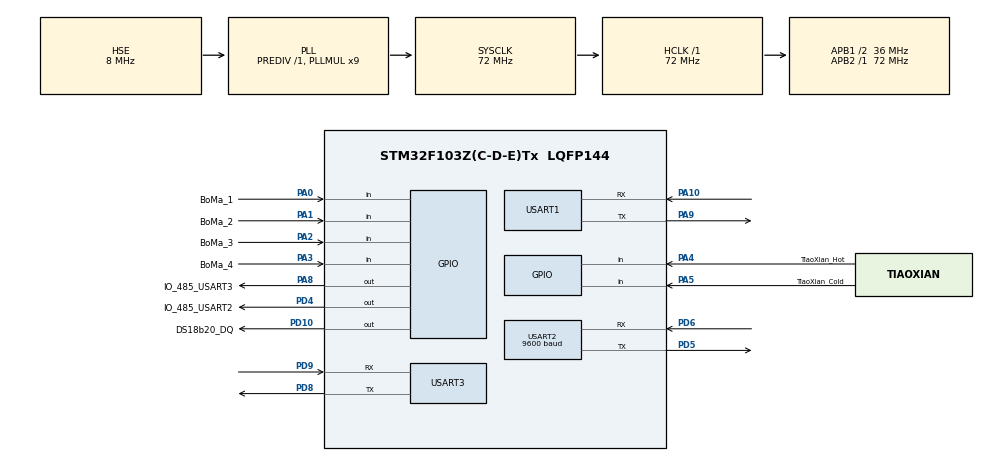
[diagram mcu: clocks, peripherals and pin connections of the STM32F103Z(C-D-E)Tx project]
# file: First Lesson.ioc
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Dma.Request0=USART2_RX
Dma.Request1=USART3_RX
Dma.Request2=USART1_RX
Dma.USART1_RX.2.Direction=DMA_PERIPH_TO_MEMORY
Dma.USART1_RX.2.Instance=DMA1_Channel5
Dma.USART1_RX.2.MemDataAlignment=DMA_MDATAALIGN_BYTE
Dma.USART1_RX.2.MemInc=DMA_MINC_ENABLE
Dma.USART1_RX.2.Mode=DMA_NORMAL
Dma.USART1_RX.2.PeriphDataAlignment=DMA_PDATAALIGN_BYTE
Dma.USART1_RX.2.PeriphInc=DMA_PINC_DISABLE
Dma.USART1_RX.2.Priority=DMA_PRIORITY_LOW
Dma.USART2_RX.0.Direction=DMA_PERIPH_TO_MEMORY
Dma.USART2_RX.0.Instance=DMA1_Channel6
Dma.USART2_RX.0.MemDataAlignment=DMA_MDATAALIGN_BYTE
Dma.USART2_RX.0.MemInc=DMA_MINC_ENABLE
Dma.USART2_RX.0.Mode=DMA_NORMAL
Dma.USART2_RX.0.PeriphDataAlignment=DMA_PDATAALIGN_BYTE
Dma.USART2_RX.0.PeriphInc=DMA_PINC_DISABLE
Dma.USART2_RX.0.Priority=DMA_PRIORITY_LOW
Dma.USART3_RX.1.Direction=DMA_PERIPH_TO_MEMORY
Dma.USART3_RX.1.Instance=DMA1_Channel3
Dma.USART3_RX.1.MemDataAlignment=DMA_MDATAALIGN_BYTE
Dma.USART3_RX.1.MemInc=DMA_MINC_ENABLE
Dma.USART3_RX.1.Mode=DMA_NORMAL
Dma.USART3_RX.1.PeriphDataAlignment=DMA_PDATAALIGN_BYTE
Dma.USART3_RX.1.PeriphInc=DMA_PINC_DISABLE
Dma.USART3_RX.1.Priority=DMA_PRIORITY_LOW
FREERTOS.BinarySemaphores01=bSem_USART1_Serve,Dynamic,NULL;bSem_USART2_Serve,Dynamic,NULL;bSem_USART3_Serve,Dynamic,NULL;bSem_GPRS_DataSend,Dynamic,NULL;bSem_Temp_Control,Dynamic,NULL
FREERTOS.Tasks01=Far_Modify,0,128,Far_ModifyTask,Default,NULL,Dynamic,NULL,NULL;USART1_Serve,3,128,USART1_Serve_Task,Default,NULL,Dynamic,NULL,NULL;USART2_Serve,3,128,USART2_Serve_Task,Default,NULL,Dynamic,NULL,NULL;USART3_Serve,3,128,USART3_Serve_Task,Default,NULL,Dynamic,NULL,NULL;GPRS_DataSend,0,128,GPRS_DataSendTask,Default,NULL,Dynamic,NULL,NULL;Temp_Control,0,128,Temp_ControlTask,Default,NULL,Dynamic,NULL,NULL
FREERTOS.Timers01=Timer_GPRS_DataSend,Timer_GPRS_DataSendCallback,osTimerPeriodic,Default,NULL,Dynamic,NULL;Timer_Temp_Control,Timer_Temp_ControlCallback,osTimerPeriodic,Default,NULL,Dynamic,NULL
FREERTOS.configTIMER_QUEUE_LENGTH=10
FREERTOS.configTOTAL_HEAP_SIZE=20480
FREERTOS.configUSE_TIMERS=1
Mcu.Family=STM32F1
Mcu.Name=STM32F103Z(C-D-E)Tx
Mcu.Package=LQFP144
NVIC.DMA1_Channel3_IRQn=true\:5\:0\:false\:false\:true\:true\:false
NVIC.DMA1_Channel5_IRQn=true\:5\:0\:false\:false\:true\:true\:false
NVIC.DMA1_Channel6_IRQn=true\:5\:0\:false\:false\:true\:true\:false
NVIC.PriorityGroup=NVIC_PRIORITYGROUP_4
NVIC.TIM8_UP_IRQn=true\:0\:0\:false\:false\:true\:false\:false
NVIC.TimeBase=TIM8_UP_IRQn
NVIC.TimeBaseIP=TIM8
NVIC.USART1_IRQn=true\:5\:0\:false\:false\:true\:true\:true
NVIC.USART2_IRQn=true\:5\:0\:false\:false\:true\:true\:true
NVIC.USART3_IRQn=true\:5\:0\:false\:false\:true\:true\:true
OSC_IN.Mode=HSE-External-Oscillator
OSC_IN.Signal=RCC_OSC_IN
OSC_OUT.Mode=HSE-External-Oscillator
OSC_OUT.Signal=RCC_OSC_OUT
PA0-WKUP.GPIO_Label=BoMa_1
PA0-WKUP.GPIO_PuPd=GPIO_PULLUP
PA0-WKUP.Signal=GPIO_Input
PA1.GPIO_Label=BoMa_2
PA1.GPIO_PuPd=GPIO_PULLUP
PA1.Signal=GPIO_Input
PA10.Mode=Asynchronous
PA10.Signal=USART1_RX
PA13.Mode=JTAG_5_pins
PA13.Signal=SYS_JTMS-SWDIO
PA14.Mode=JTAG_5_pins
PA14.Signal=SYS_JTCK-SWCLK
PA15.Mode=JTAG_5_pins
PA15.Signal=SYS_JTDI
PA2.GPIO_Label=BoMa_3
PA2.GPIO_PuPd=GPIO_PULLUP
PA2.Signal=GPIO_Input
PA3.GPIO_Label=BoMa_4
PA3.GPIO_PuPd=GPIO_PULLUP
PA3.Signal=GPIO_Input
PA4.GPIO_Label=TiaoXian_Hot
PA4.GPIO_PuPd=GPIO_PULLUP
PA4.Signal=GPIO_Input
PA5.GPIO_Label=TiaoXian_Cold
PA5.GPIO_PuPd=GPIO_PULLUP
PA5.Signal=GPIO_Input
PA8.GPIO_Label=IO_485_USART3
PA8.GPIO_PuPd=GPIO_PULLUP
PA8.GPIO_Speed=GPIO_SPEED_FREQ_HIGH
PA8.Signal=GPIO_Output
PA9.Mode=Asynchronous
PA9.Signal=USART1_TX
PB3.Mode=JTAG_5_pins
PB3.Signal=SYS_JTDO-TRACESWO
PB4.Mode=JTAG_5_pins
PB4.Signal=SYS_NJTRST
PD10.GPIO_Label=DS18b20_DQ
PD10.GPIO_ModeDefaultOutputPP=GPIO_MODE_OUTPUT_OD
PD10.GPIO_PuPd=GPIO_PULLUP
PD10.GPIO_Speed=GPIO_SPEED_FREQ_HIGH
PD10.PinState=GPIO_PIN_SET
PD10.Signal=GPIO_Output
PD4.GPIO_Label=IO_485_USART2
PD4.GPIO_ModeDefaultOutputPP=GPIO_MODE_OUTPUT_PP
PD4.GPIO_PuPd=GPIO_PULLUP
PD4.GPIO_Speed=GPIO_SPEED_FREQ_HIGH
PD4.PinState=GPIO_PIN_RESET
PD4.Signal=GPIO_Output
PD5.Mode=Asynchronous
PD5.Signal=USART2_TX
PD6.Mode=Asynchronous
PD6.Signal=USART2_RX
PD8.Mode=Asynchronous
PD8.Signal=USART3_TX
PD9.Mode=Asynchronous
PD9.Signal=USART3_RX
ProjectManager.HeapSize=0x200
ProjectManager.StackSize=0x400
ProjectManager.TargetToolchain=MDK-ARM V5
RCC.AHBFreq_Value=72000000
RCC.APB1CLKDivider=RCC_HCLK_DIV2
RCC.APB1Freq_Value=36000000
RCC.APB1TimFreq_Value=72000000
RCC.APB2Freq_Value=72000000
RCC.APB2TimFreq_Value=72000000
RCC.HCLKFreq_Value=72000000
RCC.PLLMUL=RCC_PLL_MUL9
RCC.PLLSourceVirtual=RCC_PLLSOURCE_HSE
RCC.SYSCLKFreq_VALUE=72000000
RCC.SYSCLKSource=RCC_SYSCLKSOURCE_PLLCLK
RCC.USBFreq_Value=72000000
TIM7.AutoReloadPreload=TIM_AUTORELOAD_PRELOAD_ENABLE
TIM7.Period=65535
TIM7.Prescaler=0
USART1.VirtualMode=VM_ASYNC
USART2.BaudRate=9600
USART2.StopBits=STOPBITS_2
USART2.VirtualMode=VM_ASYNC
USART3.VirtualMode=VM_ASYNC
VP_FREERTOS_VS_ENABLE.Mode=Enabled
VP_SYS_VS_tim8.Mode=TIM8
VP_TIM7_VS_ClockSourceINT.Mode=Enable_Timer
board=custom

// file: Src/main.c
/**
  ******************************************************************************
  * @file           : main.c
  * @brief          : Main program body
  ******************************************************************************
  * This notice applies to any and all portions of this file
  * that are not between comment pairs USER CODE BEGIN and
  * USER CODE END. Other portions of this file, whether
  * inserted by the user or by software development tools
  * are owned by their respective copyright owners.
  *
  * Copyright (c) 2018 STMicroelectronics International N.V.
  * All rights reserved.
  *
  * Redistribution and use in source and binary forms, with or without
  * modification, are permitted, provided that the following conditions are met:
  *
  * 1. Redistribution of source code must retain the above copyright notice,
  *    this list of conditions and the following disclaimer.
  * 2. Redistributions in binary form must reproduce the above copyright notice,
  *    this list of conditions and the following disclaimer in the documentation
  *    and/or other materials provided with the distribution.
  * 3. Neither the name of STMicroelectronics nor the names of other
  *    contributors to this software may be used to endorse or promote products
  *    derived from this software without specific written permission.
  * 4. This software, including modifications and/or derivative works of this
  *    software, must execute solely and exclusively on microcontroller or
  *    microprocessor devices manufactured by or for STMicroelectronics.
  * 5. Redistribution and use of this software other than as permitted under
  *    this license is void and will automatically terminate your rights under
  *    this license.
  *
  * THIS SOFTWARE IS PROVIDED BY STMICROELECTRONICS AND CONTRIBUTORS "AS IS"
  * AND ANY EXPRESS, IMPLIED OR STATUTORY WARRANTIES, INCLUDING, BUT NOT
  * LIMITED TO, THE IMPLIED WARRANTIES OF MERCHANTABILITY, FITNESS FOR A
  * PARTICULAR PURPOSE AND NON-INFRINGEMENT OF THIRD PARTY INTELLECTUAL PROPERTY
  * RIGHTS ARE DISCLAIMED TO THE FULLEST EXTENT PERMITTED BY LAW. IN NO EVENT
  * SHALL STMICROELECTRONICS OR CONTRIBUTORS BE LIABLE FOR ANY DIRECT, INDIRECT,
  * INCIDENTAL, SPECIAL, EXEMPLARY, OR CONSEQUENTIAL DAMAGES (INCLUDING, BUT NOT
  * LIMITED TO, PROCUREMENT OF SUBSTITUTE GOODS OR SERVICES; LOSS OF USE, DATA,
  * OR PROFITS; OR BUSINESS INTERRUPTION) HOWEVER CAUSED AND ON ANY THEORY OF
  * LIABILITY, WHETHER IN CONTRACT, STRICT LIABILITY, OR TORT (INCLUDING
  * NEGLIGENCE OR OTHERWISE) ARISING IN ANY WAY OUT OF THE USE OF THIS SOFTWARE,
  * EVEN IF ADVISED OF THE POSSIBILITY OF SUCH DAMAGE.
  *
  ******************************************************************************
  */
#include "main.h"
#include "stm32f1xx_hal.h"
#include "cmsis_os.h"
#include "dma.h"
#include "tim.h"
#include "usart.h"
#include "gpio.h"

/* USER CODE BEGIN Includes */
#include "public.h"
/* USER CODE END Includes */

/* USER CODE BEGIN PV */
/* Private variables ---------------------------------------------------------*/
char a[256]={0};
/* USER CODE END PV */

void SystemClock_Config(void);
void MX_FREERTOS_Init(void);

/* USER CODE BEGIN PFP */
/* Private function prototypes -----------------------------------------------*/

/* USER CODE END PFP */

int main(void)
{

  /* MCU Configuration----------------------------------------------------------*/

  /* Reset of all peripherals, Initializes the Flash interface and the Systick. */
  HAL_Init();

  /* Configure the system clock */
  SystemClock_Config();

  /* Initialize all configured peripherals */
  MX_GPIO_Init();
  MX_DMA_Init();
  MX_USART1_UART_Init();
  MX_USART2_UART_Init();
  MX_USART3_UART_Init();
  MX_TIM7_Init();
  /* USER CODE BEGIN 2 */
  HAL_UART_Receive_DMA(&huart1,UsartType_1.RX_pData, RX_LEN);
	__HAL_UART_ENABLE_IT(&huart1,UART_IT_IDLE);
	  HAL_UART_Receive_DMA(&huart2,UsartType_2.RX_pData, RX_LEN);
	__HAL_UART_ENABLE_IT(&huart2,UART_IT_IDLE);
	  HAL_UART_Receive_DMA(&huart3,UsartType_3.RX_pData, RX_LEN);
	__HAL_UART_ENABLE_IT(&huart3,UART_IT_IDLE);

	vTraceEnable(TRC_INIT);

	Board_Init();		//根据跳线、拨码 进行参数初始化

//TEST
BoardRegister[1] = 3;			//
BoardRegister[2] = 18;		//

	GPRS_Init();

  /* USER CODE END 2 */

  /* Call init function for freertos objects (in freertos.c) */
  MX_FREERTOS_Init();

  /* Start scheduler */
  osKernelStart();

  /* We should never get here as control is now taken by the scheduler */

  /* Infinite loop */
  /* USER CODE BEGIN WHILE */
  while (1)
  {
		;
  /* USER CODE END WHILE */

  }

}

void SystemClock_Config(void)
{

  RCC_OscInitTypeDef RCC_OscInitStruct;
  RCC_ClkInitTypeDef RCC_ClkInitStruct;

    /**Initializes the CPU, AHB and APB busses clocks
    */
  RCC_OscInitStruct.OscillatorType = RCC_OSCILLATORTYPE_HSE;
  RCC_OscInitStruct.HSEState = RCC_HSE_ON;
  RCC_OscInitStruct.HSEPredivValue = RCC_HSE_PREDIV_DIV1;
  RCC_OscInitStruct.HSIState = RCC_HSI_ON;
  RCC_OscInitStruct.PLL.PLLState = RCC_PLL_ON;
  RCC_OscInitStruct.PLL.PLLSource = RCC_PLLSOURCE_HSE;
  RCC_OscInitStruct.PLL.PLLMUL = RCC_PLL_MUL9;
  if (HAL_RCC_OscConfig(&RCC_OscInitStruct) != HAL_OK)
  {
    _Error_Handler(__FILE__, __LINE__);
  }

    /**Initializes the CPU, AHB and APB busses clocks
    */
  RCC_ClkInitStruct.ClockType = RCC_CLOCKTYPE_HCLK|RCC_CLOCKTYPE_SYSCLK
                              |RCC_CLOCKTYPE_PCLK1|RCC_CLOCKTYPE_PCLK2;
  RCC_ClkInitStruct.SYSCLKSource = RCC_SYSCLKSOURCE_PLLCLK;
  RCC_ClkInitStruct.AHBCLKDivider = RCC_SYSCLK_DIV1;
  RCC_ClkInitStruct.APB1CLKDivider = RCC_HCLK_DIV2;
  RCC_ClkInitStruct.APB2CLKDivider = RCC_HCLK_DIV1;

  if (HAL_RCC_ClockConfig(&RCC_ClkInitStruct, FLASH_LATENCY_2) != HAL_OK)
  {
    _Error_Handler(__FILE__, __LINE__);
  }

    /**Configure the Systick interrupt time
    */
  HAL_SYSTICK_Config(HAL_RCC_GetHCLKFreq()/1000);

    /**Configure the Systick
    */
  HAL_SYSTICK_CLKSourceConfig(SYSTICK_CLKSOURCE_HCLK);

  /* SysTick_IRQn interrupt configuration */
  HAL_NVIC_SetPriority(SysTick_IRQn, 15, 0);
}

void HAL_TIM_PeriodElapsedCallback(TIM_HandleTypeDef *htim)
{
  if (htim->Instance == TIM8) {
    HAL_IncTick();
  }
}

void _Error_Handler(char *file, int line)
{
  while(1)
  {
  }
}

/************************ (C) COPYRIGHT STMicroelectronics *****END OF FILE****/

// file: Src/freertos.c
/**
  ******************************************************************************
  * File Name          : freertos.c
  * Description        : Code for freertos applications
  ******************************************************************************
  * This notice applies to any and all portions of this file
  * that are not between comment pairs USER CODE BEGIN and
  * USER CODE END. Other portions of this file, whether
  * inserted by the user or by software development tools
  * are owned by their respective copyright owners.
  *
  * Copyright (c) 2018 STMicroelectronics International N.V.
  * All rights reserved.
  *
  * Redistribution and use in source and binary forms, with or without
  * modification, are permitted, provided that the following conditions are met:
  *
  * 1. Redistribution of source code must retain the above copyright notice,
  *    this list of conditions and the following disclaimer.
  * 2. Redistributions in binary form must reproduce the above copyright notice,
  *    this list of conditions and the following disclaimer in the documentation
  *    and/or other materials provided with the distribution.
  * 3. Neither the name of STMicroelectronics nor the names of other
  *    contributors to this software may be used to endorse or promote products
  *    derived from this software without specific written permission.
  * 4. This software, including modifications and/or derivative works of this
  *    software, must execute solely and exclusively on microcontroller or
  *    microprocessor devices manufactured by or for STMicroelectronics.
  * 5. Redistribution and use of this software other than as permitted under
  *    this license is void and will automatically terminate your rights under
  *    this license.
  *
  * THIS SOFTWARE IS PROVIDED BY STMICROELECTRONICS AND CONTRIBUTORS "AS IS"
  * AND ANY EXPRESS, IMPLIED OR STATUTORY WARRANTIES, INCLUDING, BUT NOT
  * LIMITED TO, THE IMPLIED WARRANTIES OF MERCHANTABILITY, FITNESS FOR A
  * PARTICULAR PURPOSE AND NON-INFRINGEMENT OF THIRD PARTY INTELLECTUAL PROPERTY
  * RIGHTS ARE DISCLAIMED TO THE FULLEST EXTENT PERMITTED BY LAW. IN NO EVENT
  * SHALL STMICROELECTRONICS OR CONTRIBUTORS BE LIABLE FOR ANY DIRECT, INDIRECT,
  * INCIDENTAL, SPECIAL, EXEMPLARY, OR CONSEQUENTIAL DAMAGES (INCLUDING, BUT NOT
  * LIMITED TO, PROCUREMENT OF SUBSTITUTE GOODS OR SERVICES; LOSS OF USE, DATA,
  * OR PROFITS; OR BUSINESS INTERRUPTION) HOWEVER CAUSED AND ON ANY THEORY OF
  * LIABILITY, WHETHER IN CONTRACT, STRICT LIABILITY, OR TORT (INCLUDING
  * NEGLIGENCE OR OTHERWISE) ARISING IN ANY WAY OUT OF THE USE OF THIS SOFTWARE,
  * EVEN IF ADVISED OF THE POSSIBILITY OF SUCH DAMAGE.
  *
  ******************************************************************************
  */

#include "FreeRTOS.h"
#include "task.h"
#include "cmsis_os.h"

/* USER CODE BEGIN Includes */
#include "public.h"
#include "Far_ModifyTask_Resources.h"
#include "GPRS_DataSendTask_Resources.h"
#include "DS18b20Module.h"
#include "Temp_ControlTask_Resources.h"
/* USER CODE END Includes */

osThreadId Far_ModifyHandle;
osThreadId USART1_ServeHandle;
osThreadId USART2_ServeHandle;
osThreadId USART3_ServeHandle;
osThreadId GPRS_DataSendHandle;
osThreadId Temp_ControlHandle;
osTimerId Timer_GPRS_DataSendHandle;
osTimerId Timer_Temp_ControlHandle;
osSemaphoreId bSem_USART1_ServeHandle;
osSemaphoreId bSem_USART2_ServeHandle;
osSemaphoreId bSem_USART3_ServeHandle;
osSemaphoreId bSem_GPRS_DataSendHandle;
osSemaphoreId bSem_Temp_ControlHandle;

void Far_ModifyTask(void const * argument);
void USART1_Serve_Task(void const * argument);
void USART2_Serve_Task(void const * argument);
void USART3_Serve_Task(void const * argument);
void GPRS_DataSendTask(void const * argument);
void Temp_ControlTask(void const * argument);
void Timer_GPRS_DataSendCallback(void const * argument);
void Timer_Temp_ControlCallback(void const * argument);

void MX_FREERTOS_Init(void); /* (MISRA C 2004 rule 8.1) */

/* Hook prototypes */

/* Init FreeRTOS */

void MX_FREERTOS_Init(void) {

  /* Create the semaphores(s) */
  /* definition and creation of bSem_USART1_Serve */
  osSemaphoreDef(bSem_USART1_Serve);
  bSem_USART1_ServeHandle = osSemaphoreCreate(osSemaphore(bSem_USART1_Serve), 1);

  /* definition and creation of bSem_USART2_Serve */
  osSemaphoreDef(bSem_USART2_Serve);
  bSem_USART2_ServeHandle = osSemaphoreCreate(osSemaphore(bSem_USART2_Serve), 1);

  /* definition and creation of bSem_USART3_Serve */
  osSemaphoreDef(bSem_USART3_Serve);
  bSem_USART3_ServeHandle = osSemaphoreCreate(osSemaphore(bSem_USART3_Serve), 1);

  /* definition and creation of bSem_GPRS_DataSend */
  osSemaphoreDef(bSem_GPRS_DataSend);
  bSem_GPRS_DataSendHandle = osSemaphoreCreate(osSemaphore(bSem_GPRS_DataSend), 1);

  /* definition and creation of bSem_Temp_Control */
  osSemaphoreDef(bSem_Temp_Control);
  bSem_Temp_ControlHandle = osSemaphoreCreate(osSemaphore(bSem_Temp_Control), 1);

  /* Create the timer(s) */
  /* definition and creation of Timer_GPRS_DataSend */
  osTimerDef(Timer_GPRS_DataSend, Timer_GPRS_DataSendCallback);
  Timer_GPRS_DataSendHandle = osTimerCreate(osTimer(Timer_GPRS_DataSend), osTimerPeriodic, NULL);

  /* definition and creation of Timer_Temp_Control */
  osTimerDef(Timer_Temp_Control, Timer_Temp_ControlCallback);
  Timer_Temp_ControlHandle = osTimerCreate(osTimer(Timer_Temp_Control), osTimerPeriodic, NULL);

  /* USER CODE BEGIN RTOS_TIMERS */
  /* start timers, add new ones, ... */
	osTimerStart(Timer_GPRS_DataSendHandle,5000);
	osTimerStart(Timer_Temp_ControlHandle,1000);
  /* USER CODE END RTOS_TIMERS */

  /* Create the thread(s) */
  /* definition and creation of Far_Modify */
  osThreadDef(Far_Modify, Far_ModifyTask, osPriorityNormal, 0, 128);
  Far_ModifyHandle = osThreadCreate(osThread(Far_Modify), NULL);

  /* definition and creation of USART1_Serve */
  osThreadDef(USART1_Serve, USART1_Serve_Task, osPriorityRealtime, 0, 128);
  USART1_ServeHandle = osThreadCreate(osThread(USART1_Serve), NULL);

  /* definition and creation of USART2_Serve */
  osThreadDef(USART2_Serve, USART2_Serve_Task, osPriorityRealtime, 0, 128);
  USART2_ServeHandle = osThreadCreate(osThread(USART2_Serve), NULL);

  /* definition and creation of USART3_Serve */
  osThreadDef(USART3_Serve, USART3_Serve_Task, osPriorityRealtime, 0, 128);
  USART3_ServeHandle = osThreadCreate(osThread(USART3_Serve), NULL);

  /* definition and creation of GPRS_DataSend */
  osThreadDef(GPRS_DataSend, GPRS_DataSendTask, osPriorityNormal, 0, 128);
  GPRS_DataSendHandle = osThreadCreate(osThread(GPRS_DataSend), NULL);

  /* definition and creation of Temp_Control */
  osThreadDef(Temp_Control, Temp_ControlTask, osPriorityNormal, 0, 128);
  Temp_ControlHandle = osThreadCreate(osThread(Temp_Control), NULL);

  /* USER CODE BEGIN RTOS_QUEUES */
  /* add queues, ... */
	Far_Modify.xPointerQueue = xQueueCreate(5,sizeof(void *));
	GPRS_DataSend.xPointerQueue = xQueueCreate(1,sizeof(void *));
  /* USER CODE END RTOS_QUEUES */
}

/* Far_ModifyTask function */
void Far_ModifyTask(void const * argument)
{

  /* USER CODE BEGIN Far_ModifyTask */
	USART_RECEIVETYPE * pMail =NULL;

	uint16_t DataLen = 0;		//数据内容长度
	uint16_t FrameCRC = 0;  //邮件中的CRC值
	uint8_t  RegisterNum = 0;  //操作寄存器的个数
	uint16_t Addr_Temp = 0;	//临时地址值
	uint8_t  ack[2] = {0x80,0x02};
  /* Infinite loop */
  for(;;)
  {
		xQueueReceive(Far_Modify.xPointerQueue,		//等待消息队列
									&pMail,
									portMAX_DELAY);
		//--------处理从下面开始
						//包头+对象正确 + CRC校验正确 后，视为数据正确，根据字节长度反算操作的寄存器个数，循环进行改值操作
		if( (pMail->RX_pData[0]==0x55) && (pMail->RX_pData[1]==0xAA) && (pMail->RX_pData[2]==0x02))
		{
						//CRC
			DataLen = pMail->RX_pData[10] + (pMail->RX_pData[11]<<8);
			FrameCRC = pMail->RX_pData[DataLen+12] + ( pMail->RX_pData[DataLen+13] <<8 );
			if( FrameCRC == gprsCRC( &(pMail->RX_pData[2]), DataLen+10 ) )
			{
				RegisterNum = ( DataLen -1)/4;
				for(uint8_t i=0;i<RegisterNum;i++)	//循环改写节能板寄存器的值
				{
					Addr_Temp = pMail->RX_pData[13+4*i] + ( pMail->RX_pData[14+4*i]<<8 );
					if(Addr_Temp <=10 )  //防止内存溢出 或 到达不可写区域
						//改写节能控制板寄存器
					BoardRegister[Addr_Temp] = 	pMail->RX_pData[15+4*i] + ( pMail->RX_pData[16+4*i]<<8 );
				}
				//返回0x80 + 0x02
				USART3_485_Send(ack,2);
			}
		}
		//---------处理结束
		vPortFree(pMail);
		pMail = NULL;
		//----------Done
  }
  /* USER CODE END Far_ModifyTask */
}

/* USART1_Serve_Task function */
void USART1_Serve_Task(void const * argument)
{
  /* USER CODE BEGIN USART1_Serve_Task */
  /* Infinite loop */
	/**
		这是一个串口1中断服务任务 ，
		为串口1接收到的数据提供处理服务
	**/
  for(;;)
  {
		osSemaphoreWait(bSem_USART1_ServeHandle,osWaitForever);

		if(UsartType_1.RX_flag)			//receive flag
			UsartType_1.RX_flag = 0;			//clean flag

		//----------  处理从下面开始 --------------

  }
  /* USER CODE END USART1_Serve_Task */
}

/* USART2_Serve_Task function */
void USART2_Serve_Task(void const * argument)
{
  /* USER CODE BEGIN USART2_Serve_Task */
	USART_RECEIVETYPE * pMail = NULL;
  /* Infinite loop */
	/**
		这是一个串口2中断服务任务 ，
		为串口2接收到的数据提供处理服务
		串口2接收到的只有从机的响应数据，简单判断从机设备号后统统扔入GPRS_DataSendTask任务内建消息队列
	**/
  for(;;)
  {
		osSemaphoreWait(bSem_USART2_ServeHandle,osWaitForever);

		if(UsartType_2.RX_flag)			//receive flag
			UsartType_2.RX_flag = 0;			//clean flag

		//----------  处理从下面开始 --------------
		if( ( UsartType_2.RX_pData[0] != 1)&&(UsartType_2.RX_pData[0] != 63) )			//先简单判断
				continue;
		if(  UsartType_2.RX_pData[1] != 3 )		//屏蔽掉其它码回传的数据帧
				continue;
		if( uxQueueSpacesAvailable(GPRS_DataSend.xPointerQueue)>=1 )					//队列有没有满？
				pMail = pvPortMalloc(sizeof(USART_RECEIVETYPE));		//申请动态内存
		if( pMail != NULL )				//动态内存申请成功了？
		{
				memcpy(pMail,&UsartType_2,sizeof(UsartType_2));		//内存拷贝
				xQueueSend(GPRS_DataSend.xPointerQueue,		//扔入消息队列
								 &pMail,
								 portMAX_DELAY );
		}
		pMail = NULL;

  }
  /* USER CODE END USART2_Serve_Task */
}

/* USART3_Serve_Task function */
void USART3_Serve_Task(void const * argument)
{
  /* USER CODE BEGIN USART3_Serve_Task */
	USART_RECEIVETYPE * pMail =NULL;
  /* Infinite loop */
	/**
		这是一个串口3中断服务任务 ，
		为串口3接收到的数据提供处理服务
		接收来自GPRS的数据，仍入任务内建的消息队列
	**/
  for(;;)
  {
		osSemaphoreWait(bSem_USART3_ServeHandle,osWaitForever);

		if(UsartType_3.RX_flag)			//receive flag
			UsartType_3.RX_flag = 0;			//clean flag

		//----------  处理从下面开始 --------------
		if( uxQueueSpacesAvailable(Far_Modify.xPointerQueue)>=1 )			//查询队列有没有满？剩余的项数
			pMail = pvPortMalloc(sizeof(USART_RECEIVETYPE));	//申请动态内存，返回指针
		if(pMail != NULL)
		{
			memcpy(pMail,&UsartType_3,sizeof(UsartType_3));				//内存拷贝
			xQueueSend(Far_Modify.xPointerQueue,
								 &pMail,
								 portMAX_DELAY );
		}
		pMail = NULL;
  }
  /* USER CODE END USART3_Serve_Task */
}

/* GPRS_DataSendTask function */
void GPRS_DataSendTask(void const * argument)
{
  /* USER CODE BEGIN GPRS_DataSendTask */
	USART_RECEIVETYPE * pMail = NULL;
  /* Infinite loop */
  for(;;)
  {
		osSemaphoreWait(bSem_GPRS_DataSendHandle,osWaitForever);

		Modbus_03_Search( 1, 1199,28);		//读外机 1200~1227地址的寄存器

		xQueueReceive(GPRS_DataSend.xPointerQueue,		//等待消息队列  500个Ticks
									&pMail,
									1000);

		Modbus_03_Search( 1, 5103,19);		//读外机 5104~5122地址的寄存器

		Modbus_Modify(pMail);				//参数修改
		vPortFree(pMail);		//动态内存释放
		pMail = NULL;

 		xQueueReceive(GPRS_DataSend.xPointerQueue,		//等待消息队列  500个Ticks
									&pMail,
									1000);

		osDelay(30);		//( 给数字电表留点处理时间，因为 否则 在数字电表看来，总线上的两串数据帧是连在一起的 )

		Modbus_03_Search( 63, 0x2000,16);		//读电表 2000H~200FH地址的寄存器

		Modbus_Modify(pMail);					//参数修改
		vPortFree(pMail);		//动态内存释放
		pMail = NULL;

 		xQueueReceive(GPRS_DataSend.xPointerQueue,		//等待消息队列  500个Ticks
									&pMail,
									500);

		Modbus_03_Search( 63, 0x4000,2);		//读电表 4000H~4001H地址的寄存器

		Modbus_Modify(pMail);					//参数修改
		vPortFree(pMail);		//动态内存释放
		pMail = NULL;

 		xQueueReceive(GPRS_DataSend.xPointerQueue,		//等待消息队列  500个Ticks
									&pMail,
									500);

		Modbus_Modify(pMail);					//参数修改
		vPortFree(pMail);		//动态内存释放
		pMail = NULL;

		GPRS_Send(theMAC,DeviceNum);			//向GPRS上传节能控制板寄存器信息
  }
  /* USER CODE END GPRS_DataSendTask */
}

/* Temp_ControlTask function */
void Temp_ControlTask(void const * argument)
{
  /* USER CODE BEGIN Temp_ControlTask */
  /* Infinite loop */
  for(;;)
  {
		osSemaphoreWait(bSem_Temp_ControlHandle,osWaitForever);
		DS18b20_FinalTemp = ReadTemperature();
		//恒温控制
		switch(BoardRegister[1])
		{
			case 1 :				//关机
				Modbus_SetRegister(1,999,0);
				break;
			case 2 :				//制热
				HeatAir_Running();
				break;
			case 3 :				//制冷
				CoolAir_Running();
				break;
			default :
				break;
		}
		//电能表清零
		if( BoardRegister[3])
		{
			Modbus_SetRegister(63,2,1);
		}
		//done
  }
  /* USER CODE END Temp_ControlTask */
}

/* Timer_GPRS_DataSendCallback function */
void Timer_GPRS_DataSendCallback(void const * argument)
{
  /* USER CODE BEGIN Timer_GPRS_DataSendCallback */
  osSemaphoreRelease(bSem_GPRS_DataSendHandle);
  /* USER CODE END Timer_GPRS_DataSendCallback */
}

/* Timer_Temp_ControlCallback function */
void Timer_Temp_ControlCallback(void const * argument)
{
  /* USER CODE BEGIN Timer_Temp_ControlCallback */
  osSemaphoreRelease(bSem_Temp_ControlHandle);
  /* USER CODE END Timer_Temp_ControlCallback */
}

/************************ (C) COPYRIGHT STMicroelectronics *****END OF FILE****/
